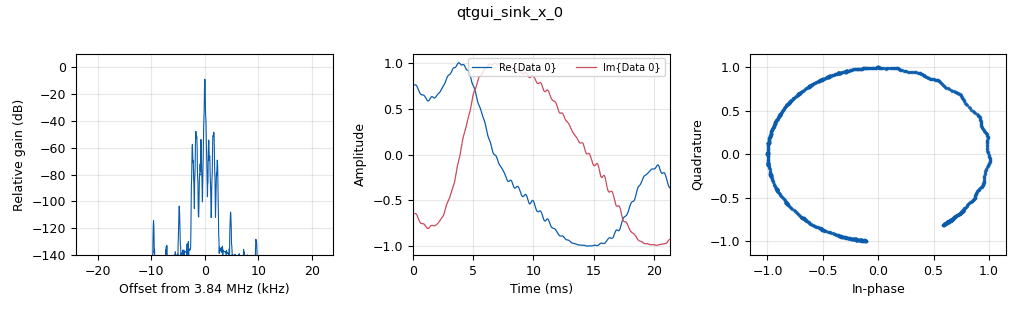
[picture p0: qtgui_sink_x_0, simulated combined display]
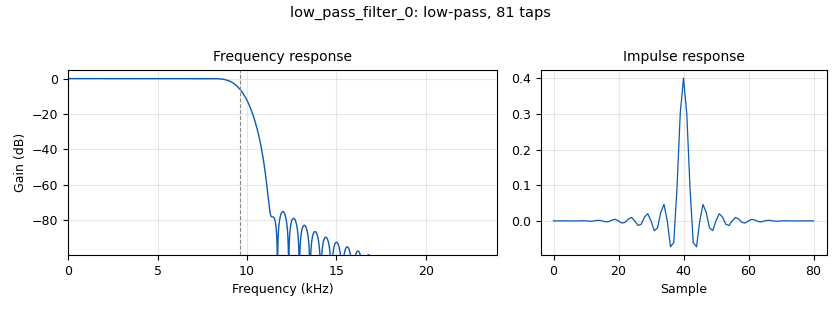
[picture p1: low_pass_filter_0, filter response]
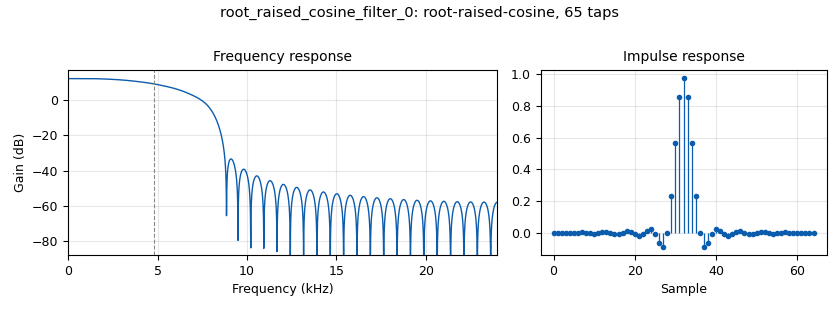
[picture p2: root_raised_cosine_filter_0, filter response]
options:
  parameters:
    author: avi
    generate_options: qt_gui
    id: Avi
    output_language: python
    title: Not titled yet
  states: {}

blocks:
- name: baud_rate
  id: variable
  parameters:
    value: '9600'
  states: {}
- name: dev_freq
  id: variable
  parameters:
    value: '5000'
  states: {}
- name: gain
  id: variable
  parameters:
    value: '4'
  states: {}
- name: roll_off
  id: variable
  parameters:
    value: '0.8'
  states: {}
- name: samp_rate
  id: variable
  parameters:
    value: '48000'
  states: {}
- name: taps
  id: variable
  parameters:
    value: '64'
  states: {}
- name: analog_cpfsk_bc_0
  id: analog_cpfsk_bc
  parameters:
    samples_per_symbol: '2'
  states: {state: disabled}
- name: analog_cpfsk_bc_1
  id: analog_cpfsk_bc
  parameters:
    samples_per_symbol: '2'
  states: {}
- name: analog_nbfm_tx_0
  id: analog_nbfm_tx
  parameters:
    audio_rate: samp_rate
    fh: '-1.0'
    max_dev: 5e3
    quad_rate: 5*samp_rate
    tau: '75e-6'
  states: {state: disabled}
- name: analog_wfm_tx_0
  id: analog_wfm_tx
  parameters:
    audio_rate: samp_rate
    fh: '-1.0'
    max_dev: dev_freq
    quad_rate: 6*samp_rate
    tau: '75e-6'
  states: {}
- name: blocks_add_const_vxx_0
  id: blocks_add_const_vxx
  parameters:
    const: '-0.5'
    type: float
  states: {}
- name: blocks_char_to_float_0
  id: blocks_char_to_float
  parameters:
    scale: '1'
  states: {}
- name: blocks_complex_to_float_0
  id: blocks_complex_to_float
  parameters: {}
  states: {state: disabled}
- name: blocks_multiply_const_vxx_0
  id: blocks_multiply_const_vxx
  parameters:
    const: 2*dev_freq/baud_rate
    type: float
  states: {}
- name: blocks_throttle_0
  id: blocks_throttle
  parameters:
    samples_per_second: baud_rate
    type: float
  states: {}
- name: blocks_vector_source_x_0
  id: blocks_vector_source_x
  parameters:
    repeat: 'True'
    type: byte
    vector: (1, 0 ,0,1,1,1,0,0,0,1,0)
  states: {}
- name: digital_cpmmod_bc_0
  id: digital_cpmmod_bc
  parameters:
    L: '4'
    mod_index: '0.5'
    samples_per_symbol: '4'
    type: analog.cpm.LREC
  states: {state: disabled}
- name: low_pass_filter_0
  id: low_pass_filter
  parameters:
    cutoff_freq: baud_rate
    gain: '1'
    interp: '1'
    samp_rate: samp_rate
    type: interp_fir_filter_ccf
    width: '2000'
    win: firdes.WIN_BLACKMAN
  states: {}
- name: qtgui_freq_sink_x_0
  id: qtgui_freq_sink_x
  parameters:
    bw: samp_rate
    fc: '0'
    fftsize: '1024'
    type: complex
    wintype: firdes.WIN_BLACKMAN_hARRIS
  states: {state: disabled}
- name: qtgui_sink_x_0
  id: qtgui_sink_x
  parameters:
    bw: samp_rate
    fc: 10*8*samp_rate
    fftsize: '1024'
    type: complex
    wintype: firdes.WIN_BLACKMAN_hARRIS
  states: {}
- name: qtgui_time_sink_x_0
  id: qtgui_time_sink_x
  parameters:
    ctrlpanel: 'True'
    size: '1024'
    srate: samp_rate
    type: complex
  states: {state: disabled}
- name: rational_resampler_xxx_0
  id: rational_resampler_xxx
  parameters:
    decim: '1'
    interp: '10'
    taps: ''
    type: ccc
  states: {}
- name: root_raised_cosine_filter_0
  id: root_raised_cosine_filter
  parameters:
    alpha: roll_off
    gain: gain
    interp: '5'
    ntaps: taps
    samp_rate: samp_rate
    sym_rate: baud_rate
    type: interp_fir_filter_fff
  states: {}
- name: root_raised_cosine_filter_0_0
  id: root_raised_cosine_filter
  parameters:
    alpha: roll_off
    gain: gain
    interp: '5'
    ntaps: taps
    samp_rate: samp_rate
    sym_rate: baud_rate
    type: interp_fir_filter_fff
  states: {state: disabled}

connections:
- [analog_nbfm_tx_0, '0', rational_resampler_xxx_0, '0']
- [analog_wfm_tx_0, '0', rational_resampler_xxx_0, '0']
- [blocks_add_const_vxx_0, '0', root_raised_cosine_filter_0, '0']
- [blocks_char_to_float_0, '0', blocks_throttle_0, '0']
- [blocks_multiply_const_vxx_0, '0', analog_nbfm_tx_0, '0']
- [blocks_multiply_const_vxx_0, '0', analog_wfm_tx_0, '0']
- [blocks_throttle_0, '0', blocks_add_const_vxx_0, '0']
- [blocks_vector_source_x_0, '0', blocks_char_to_float_0, '0']
- [low_pass_filter_0, '0', qtgui_sink_x_0, '0']
- [rational_resampler_xxx_0, '0', blocks_complex_to_float_0, '0']
- [rational_resampler_xxx_0, '0', low_pass_filter_0, '0']
- [rational_resampler_xxx_0, '0', qtgui_freq_sink_x_0, '0']
- [rational_resampler_xxx_0, '0', qtgui_time_sink_x_0, '0']
- [root_raised_cosine_filter_0, '0', blocks_multiply_const_vxx_0, '0']
- [root_raised_cosine_filter_0, '0', root_raised_cosine_filter_0_0, '0']

metadata:
  file_format: 1
